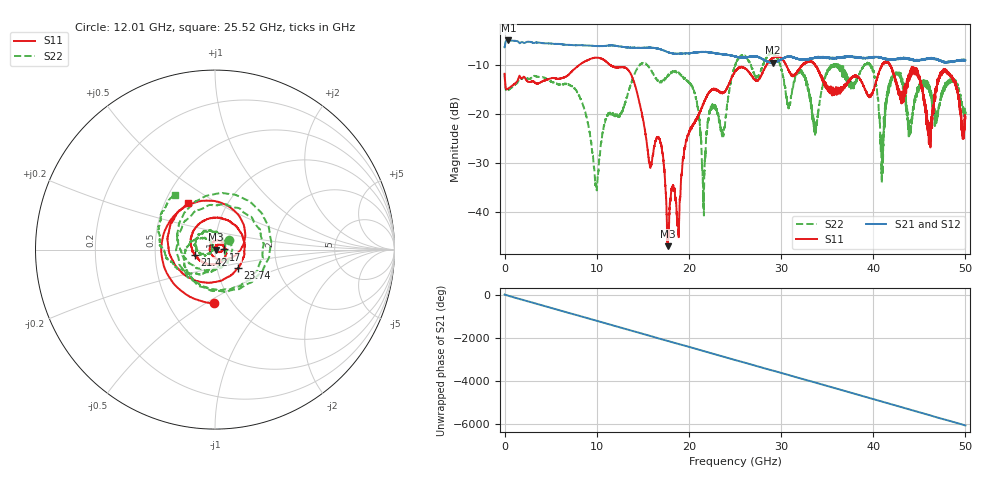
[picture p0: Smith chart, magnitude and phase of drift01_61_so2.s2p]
!Created with skrf (http://scikit-rf.org).
# Hz S RI R 50.0
!freq ReS11 ImS11 ReS21 ImS21 ReS12 ImS12 ReS22 ImS22
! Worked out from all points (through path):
!   10001 points, 300 kHz to 50 GHz, reference 50 ohm
!   highest |S21| = -5.05 dB at 410.3 MHz (marker M1); lowest = -9.6 dB at 29.12 GHz (marker M2)
!   group delay of S21, straight-line fit = 336 ps
!   lowest |S11| = -47.0 dB at 17.69 GHz (marker M3), VSWR 1.01, Z = 50.4 - j0.0628 ohm
!   |S11| at or under -10 dB: start of sweep to 8.151 GHz; 11.42 GHz to 28.42 GHz (17 GHz wide, 85.4 % of centre); 41.8 GHz to end of sweep (the widest 3 of 11)
!   |S22| runs from -40.7 to -7.6 dB; largest |S21 - S12| = 0.013
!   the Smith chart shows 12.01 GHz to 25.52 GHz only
!   S11 on the Smith chart (normalised r, x): 12.01 GHz: 0.83, -0.54; 17 GHz: 1.10, +0.00; 21.42 GHz: 0.80, -0.05; 23.74 GHz: 1.26, -0.27; 25.52 GHz: 0.65, +0.37
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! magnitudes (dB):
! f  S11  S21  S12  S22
! 300 kHz  -11.8  -6.4  -6.5  -11.8
! 410.3 MHz  -14.8  -5.1  -5.1  -15.2
! 8.335 GHz  -9.7  -6.0  -6.0  -17.4
! 9.945 GHz  -8.6  -6.2  -6.2  -34.7
! 12.01 GHz  -10.5  -6.1  -6.2  -20.5
! 15.78 GHz  -30.9  -6.5  -6.5  -10.7
! 16.67 GHz  -24.7  -6.7  -6.7  -13.4
! 17 GHz  -26.4  -6.9  -6.9  -13.6
! 17.69 GHz  -47.0  -7.4  -7.4  -12.3
! 20.47 GHz  -22.3  -7.6  -7.5  -14.9
! 21.42 GHz  -18.6  -7.4  -7.4  -30.5
! 22.47 GHz  -15.1  -7.5  -7.5  -19.1
! 23.74 GHz  -15.7  -7.9  -7.9  -24.5
! 25 GHz  -11.4  -8.3  -8.3  -10.1
! 25.52 GHz  -10.4  -8.5  -8.5  -8.4
! 29.12 GHz  -8.6  -9.6  -9.6  -7.7
! 33.34 GHz  -9.5  -8.7  -8.7  -19.4
! 39.49 GHz  -16.2  -8.6  -8.6  -9.9
! 40.97 GHz  -10.1  -8.6  -8.6  -29.0
! 41.67 GHz  -9.5  -8.8  -9.0  -15.0
! 48.01 GHz  -11.4  -9.5  -9.5  -13.6
! 50 GHz  -20.9  -9.1  -9.0  -20.2
